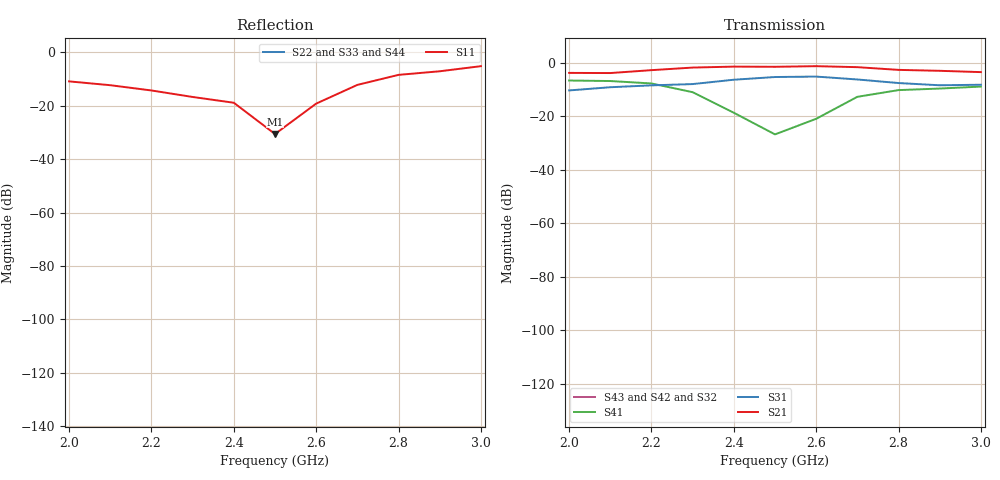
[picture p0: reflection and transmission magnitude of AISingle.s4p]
#  GHZ  S  RI  R  50.00
! freq[Hz]  re:S11  im:S11  re:S12  im:S12  re:S13  im:S13  re:S14  im:S14
!  re:S21  im:S21  re:S22  im:S22  re:S23  im:S23  re:S24  im:S24
!  re:S31  im:S31  re:S32  im:S32  re:S33  im:S33  re:S34  im:S34
!  re:S41  im:S41  re:S42  im:S42  re:S43  im:S43  re:S44  im:S44
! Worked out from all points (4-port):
!   11 points, 2 GHz to 3 GHz, reference 50 ohm
!   strongest paths, dB at 2 GHz, 2.2 GHz, 2.5 GHz, 2.8 GHz, 3 GHz:
!     S21: -3.7, -2.6, -1.4, -2.5, -3.4
!     S31: -10.2, -8.3, -5.2, -7.5, -8.1
!     S41: -6.5, -7.6, -26.7, -10.1, -8.8
!     S43: -, -, -, -, -
!     S42: -, -, -, -, -
!     S32: -, -, -, -, -
!   lowest |S11| = -30.6 dB at 2.5 GHz (marker M1), VSWR 1.06, Z = 52.5 - j1.75 ohm
!   |S11| at or under -10 dB: start of sweep to 2.759 GHz
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2  -0.2374 0.1586  0 0  0 0  0 0
   0.317 0.5731  0 0  0 0  0 0
   0.2667 0.1529  0 0  0 0  0 0
   -0.3534 -0.3122  0 0  0 0  0 0
2.2  -0.0587 0.1838  0 0  0 0  0 0
     0.6077 0.4173  0 0  0 0  0 0
     0.3827 -0.0025  0 0  0 0  0 0
     -0.3978 -0.1193  0 0  0 0  0 0
2.3  0.035 0.1416  0 0  0 0  0 0
     0.7604 0.318  0 0  0 0  0 0
     0.3874 -0.1162  0 0  0 0  0 0
     -0.2712 -0.0883  0 0  0 0  0 0
2.4  0.0781 0.0826  0 0  0 0  0 0
     0.8398 0.1787  0 0  0 0  0 0
     0.409 -0.266  0 0  0 0  0 0
     -0.1135 -0.0302  0 0  0 0  0 0
2.5  0.0244 -0.0167  0 0  0 0  0 0
     0.849 -0.0738  0 0  0 0  0 0
     0.347 -0.4245  0 0  0 0  0 0
     0.0461 0.00369  0 0  0 0  0 0
2.7  -0.2294 -0.0872  0 0  0 0  0 0
     0.5875 -0.5986  0 0  0 0  0 0
     0.0999 -0.4832  0 0  0 0  0 0
     0.045 -0.2292  0 0  0 0  0 0
3  -0.5277 0.1554  0 0  0 0  0 0
   0.1385 -0.6631  0 0  0 0  0 0
   -0.2342 -0.3158  0 0  0 0  0 0
   -0.1037 -0.3481  0 0  0 0  0 0
